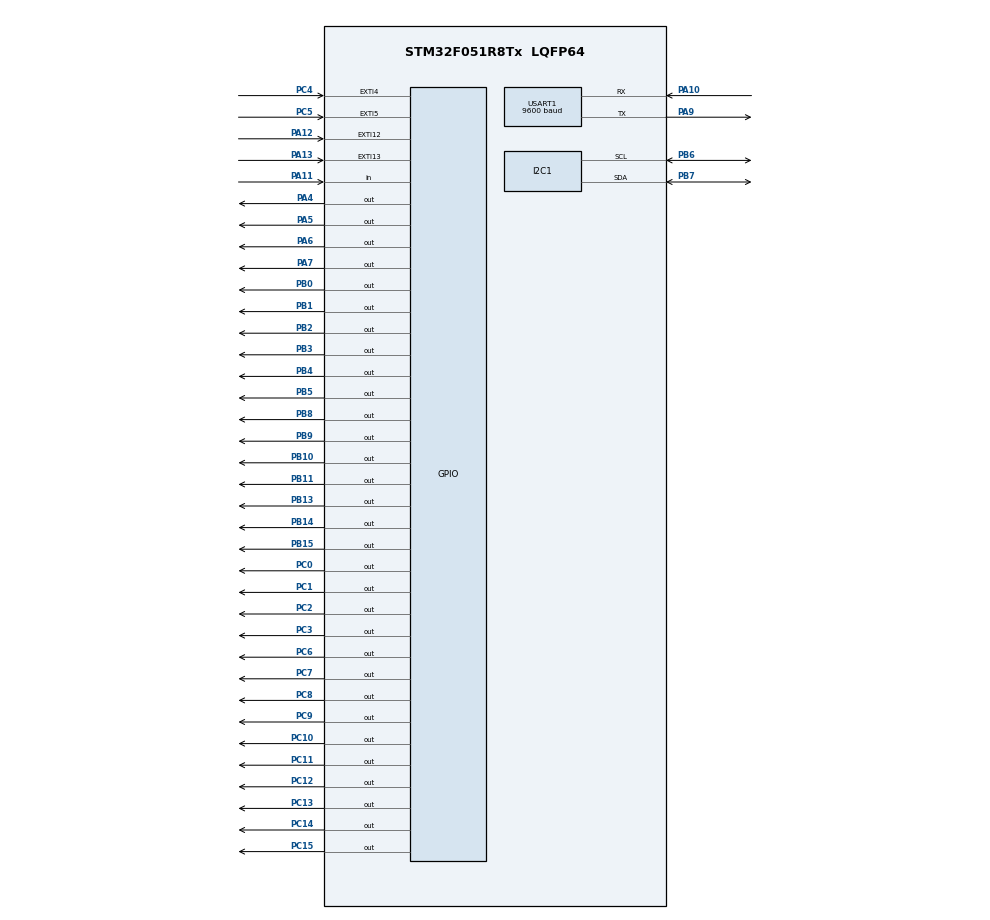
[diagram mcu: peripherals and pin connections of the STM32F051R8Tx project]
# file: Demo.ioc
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Mcu.Family=STM32F0
Mcu.Name=STM32F051R8Tx
Mcu.Package=LQFP64
NVIC.EXTI4_15_IRQn=true\:2\:0\:true\:false\:true\:true\:true
NVIC.USART1_IRQn=true\:0\:0\:false\:false\:true\:true\:true
PA10.Mode=Asynchronous
PA10.Signal=USART1_RX
PA11.GPIO_PuPd=GPIO_PULLDOWN
PA11.Signal=GPIO_Input
PA12.GPIO_PuPd=GPIO_PULLDOWN
PA12.Signal=GPXTI12
PA13.GPIO_PuPd=GPIO_PULLDOWN
PA13.Signal=GPXTI13
PA4.Signal=GPIO_Output
PA5.Signal=GPIO_Output
PA6.Signal=GPIO_Output
PA7.Signal=GPIO_Output
PA9.Mode=Asynchronous
PA9.Signal=USART1_TX
PB0.Signal=GPIO_Output
PB1.Signal=GPIO_Output
PB10.Signal=GPIO_Output
PB11.Signal=GPIO_Output
PB13.Signal=GPIO_Output
PB14.Signal=GPIO_Output
PB15.Signal=GPIO_Output
PB2.Signal=GPIO_Output
PB3.Signal=GPIO_Output
PB4.Signal=GPIO_Output
PB5.Signal=GPIO_Output
PB6.Mode=I2C
PB6.Signal=I2C1_SCL
PB7.Mode=I2C
PB7.Signal=I2C1_SDA
PB8.Signal=GPIO_Output
PB9.Signal=GPIO_Output
PC0.Signal=GPIO_Output
PC1.Signal=GPIO_Output
PC10.Signal=GPIO_Output
PC11.Signal=GPIO_Output
PC12.Signal=GPIO_Output
PC13.Signal=GPIO_Output
PC14-OSC32_IN.Signal=GPIO_Output
PC15-OSC32_OUT.Signal=GPIO_Output
PC2.Signal=GPIO_Output
PC3.Signal=GPIO_Output
PC4.GPIO_PuPd=GPIO_PULLDOWN
PC4.Signal=GPXTI4
PC5.GPIO_PuPd=GPIO_PULLDOWN
PC5.Signal=GPXTI5
PC6.Signal=GPIO_Output
PC7.Signal=GPIO_Output
PC8.Signal=GPIO_Output
PC9.Signal=GPIO_Output
ProjectManager.HeapSize=0x200
ProjectManager.StackSize=0x400
ProjectManager.TargetToolchain=STM32CubeIDE
USART1.BaudRate=9600
USART1.VirtualMode-Asynchronous=VM_ASYNC
board=custom

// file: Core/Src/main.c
/* USER CODE BEGIN Header */
/**
  ******************************************************************************
  * @file           : main.c
  * @brief          : Main program body
  ******************************************************************************
  * @attention
  *
  * <h2><center>&copy; Copyright (c) 2020 STMicroelectronics.
  * All rights reserved.</center></h2>
  *
  * This software component is licensed by ST under BSD 3-Clause license,
  * the "License"; You may not use this file except in compliance with the
  * License. You may obtain a copy of the License at:
  *                        opensource.org/licenses/BSD-3-Clause
  *
  ******************************************************************************
  */
/* USER CODE END Header */
#include "main.h"

/* USER CODE BEGIN Includes */
#include "string.h"

/* USER CODE END Includes */

/* USER CODE BEGIN PD */
// Addresses of the registers

#define _ENABLE  0x80    // Enable status and interrupts

#define _ATIME   0x81    // RGBC ADC time

#define _PTIME	 0x82    // proximity time

#define _WTIME   0x83    // Wait time

#define _AILTL   0x84    // clear Interrupt low treshold low byte

#define _AILTH   0x85    // clear Interrupt low treshold high byte

#define _AIHTL   0x86    // clear Interrupt high treshold low byte

#define _AIHTH   0x87    // clear Interrupt high treshold high byte

#define _PILTL	 0x88	 // proximity interrupt low threshold low byte

#define _PILTH	 0x89	 // proximity interrupt low threshold high byte

#define _PIHTL	 0x8A	 // proximity interrupt high threshold low byte

#define _PIHTH	 0x8B	 // proximity interrupt high threshold high byte

#define _PERS    0x8C    // Interrupt persistence filters

#define _CONFIG  0x8D    // Configuration

#define _CONTROL 0x8F    // Gain control register

#define _ID      0x92    // Device ID

#define _STATUS  0x93    // Device status

#define _CDATA   0x94    // Clear ADC low data register

#define _CDATAH  0x95    // Clear ADC high data register

#define _RDATA   0x96    // RED ADC low data register

#define _RDATAH  0x97    // RED ADC high data register

#define _GDATA   0x98    // GREEN ADC low data register

#define _GDATAH  0x99    // GREEN ADC high data register

#define _BDATA   0x9A    // BLUE ADC low data register

#define _BDATAH  0x9B    // BLUE ADC high data register

#define _PDATA	 0x9C	 // Proximity ADC data low byte

#define _PDATAH	 0x9D 	 // Proximity ADC data high byte

#define _COLOR_W_ADDRESS 0x52  //color address with a zero

#define _COLOR_R_ADDRESS 0x53  // color address with a following one

#define _COLOR_ADDRESS 	 0x29   // slave address but unsure where it came from

#define PURPLE_FLAG 1

#define BLUE_FLAG   2

#define CYAN_FLAG   3

#define GREEN_FLAG  4

#define PINK_FLAG   5

#define RED_FLAG    6

#define ORANGE_FLAG 7

#define YELLOW_FLAG 8

#define _GAIN_x4 1  0x01 	// seems like these should be written as bx01 and such

#define _GAIN_x16   0x10

#define _GAIN_x60   0x11

char i, color_detected, color_flag;

unsigned char buffer[5];

unsigned int Clear, Red, Green, Blue;

float hue, color_value, color_value_sum;

float Red_Ratio, Green_Ratio, Blue_Ratio;
/* USER CODE END PD */

I2C_HandleTypeDef hi2c1;

UART_HandleTypeDef huart1;

/* USER CODE BEGIN PV */
uint8_t bufferRFID[14];
uint8_t tag1[14] = {0x02, 54,48,48,48,51,65,53,51,50,53,50,67,0x03};
uint8_t tag2[14] = {2, 54,48,48,48,51,67,49,65,68,65,57,67,3};
uint8_t tag3[14] = {0x02, 54,48,48,48,51,65,54,56,54,54,53,52,0x03};
uint8_t tag4[14] = {2, 54,48,48,48,51,67,49,65,69,49,65,55,3};
/* USER CODE END PV */

void SystemClock_Config(void);
static void MX_GPIO_Init(void);
static void MX_USART1_UART_Init(void);
static void MX_I2C1_Init(void);

/* USER CODE BEGIN 0 */

unsigned int Color_Read_value(char reg) {

  unsigned short low_byte;

  uint16_t Out_color;

  switch(reg) {

    case 'C': buffer[0] =0x94;

    		  HAL_I2C_Master_Transmit(&hi2c1, _COLOR_ADDRESS<<1,buffer,1,100);

    		  HAL_Delay(20);

    		  HAL_I2C_Master_Receive(&hi2c1, _COLOR_ADDRESS<<1,buffer,1, 100);

    		  low_byte = buffer[0];

    		  buffer[0] = 0x95;

    		  HAL_I2C_Master_Transmit(&hi2c1, _COLOR_ADDRESS<<1,buffer,1,100);

    		  HAL_Delay(20);

    		  HAL_I2C_Master_Receive(&hi2c1, _COLOR_ADDRESS<<1,buffer,1, 100);

    		  Out_color = buffer[0];

    		  //low_byte = Color_Read(_CDATA);

              //Out_color = Color_Read(_CDATAH);

              Out_color = (Out_color << 8);

              Out_color = (Out_color | low_byte);

              //Out_color = 0x0001;

              return Out_color;

              break;

    case 'R': buffer[0] =0x96;

	  	  	  HAL_I2C_Master_Transmit(&hi2c1, _COLOR_ADDRESS<<1,buffer,1,100);

	  	  	  HAL_Delay(20);

	  	  	  HAL_I2C_Master_Receive(&hi2c1, _COLOR_ADDRESS<<1,buffer,1, 100);

	  	  	  low_byte = buffer[0];

	  	  	  buffer[0] = 0x97;

	  	  	  HAL_I2C_Master_Transmit(&hi2c1, _COLOR_ADDRESS<<1,buffer,1,100);

	  	  	  HAL_Delay(20);

	  	  	  HAL_I2C_Master_Receive(&hi2c1, _COLOR_ADDRESS<<1,buffer,1, 100);

	  	  	  Out_color = buffer[0];

	  	  	  //low_byte = Color_Read(_CDATA);

	  	  	  //Out_color = Color_Read(_CDATAH);

	  	  	  Out_color = (Out_color << 8);

	  	  	  Out_color = (Out_color | low_byte);

	  	  	  //Out_color = 0xFF05;

	  	  	  return Out_color;

	  	  	  break;

    case 'G': buffer[0] =0x98;

	  	  	  HAL_I2C_Master_Transmit(&hi2c1, _COLOR_ADDRESS<<1,buffer,1,100);

	  	  	  HAL_Delay(20);

	  	  	  HAL_I2C_Master_Receive(&hi2c1, _COLOR_ADDRESS<<1,buffer,1, 100);

	  	  	  low_byte = buffer[0];

	  	  	  buffer[0] = 0x99;

	  	  	  HAL_I2C_Master_Transmit(&hi2c1, _COLOR_ADDRESS<<1,buffer,1,100);

	  	  	  HAL_Delay(20);

	  	  	  HAL_I2C_Master_Receive(&hi2c1, _COLOR_ADDRESS<<1,buffer,1, 100);

	  	  	  Out_color = buffer[0];

	  	  	  //low_byte = Color_Read(_CDATA);

	  	  	  //Out_color = Color_Read(_CDATAH);

			  Out_color = (Out_color << 8);

			  Out_color = (Out_color | low_byte);

			  //Out_color = 0x0006;

			  return Out_color;

			  break;

    case 'B': buffer[0] =0x9A;

	  	  	  HAL_I2C_Master_Transmit(&hi2c1, _COLOR_ADDRESS<<1,buffer,1,100);

	  	  	  HAL_Delay(20);

	  	  	  HAL_I2C_Master_Receive(&hi2c1, _COLOR_ADDRESS<<1,buffer,1, 100);

	  	  	  low_byte = buffer[0];

	  	  	  buffer[0] = 0x9B;

	  	  	  HAL_I2C_Master_Transmit(&hi2c1, _COLOR_ADDRESS<<1,buffer,1,100);

	  	  	  HAL_Delay(20);

	  	  	  HAL_I2C_Master_Receive(&hi2c1, _COLOR_ADDRESS<<1,buffer,1, 100);

	  	  	  Out_color = buffer[0];

	  	  	  //low_byte = Color_Read(_CDATA);

	  	  	  //Out_color = Color_Read(_CDATAH);

	  	  	  Out_color = (Out_color << 8);

	  	  	  Out_color = (Out_color | low_byte);

	  	  	  //Out_color = 0x001;

	  	  	  return Out_color;

	  	  	  break;

    default:  return 0;

  }

}

void HAL_UART_RxCpltCallback(UART_HandleTypeDef *huart){
	//GPIOA->BSRR |= 0x00000100;
//void RFIDmatcher(){

if(memcmp(bufferRFID,tag1,14) == 0){
	detected1 = 1;
}

if(memcmp(bufferRFID,tag2,14)==0){
	detected2 = 1;
}

if(memcmp(bufferRFID,tag3,14)==0){
	detected3 = 1;
}

if(memcmp(bufferRFID,tag4,14)==0){
	detected4 = 1;
}

}

void RFIDcaller(void){
	  //HAL_UART_Receive_IT(&huart1,bufferRFID,14);

		detected1=0;
		detected2=0;
		detected3=0;
		detected4=0;

		//for (int j=0 ; j<10000;j++){
		//	  HAL_UART_Receive_IT(&huart1,bufferRFID,14);
		//}

		//LED for testing
		GPIOB->BSRR |= 0x00000800;
		for (int i=0; i<100;i++){
 		  HAL_Delay(50);
 		  HAL_UART_Receive_IT(&huart1,bufferRFID,14);
		}
		GPIOB->BSRR |= 0x08000000;
		//detected2 = 1;

 }
/* USER CODE END 0 */

int main(void)
{
  /* USER CODE BEGIN 1 */
	detected1 = 0;
	detected2 = 0;
	detected3 = 0;
	detected4 = 0;

  /* USER CODE END 1 */

  /* MCU Configuration--------------------------------------------------------*/

  /* Reset of all peripherals, Initializes the Flash interface and the Systick. */
  HAL_Init();

  /* Configure the system clock */
  SystemClock_Config();

  /* Initialize all configured peripherals */
  MX_GPIO_Init();
  MX_USART1_UART_Init();
  MX_I2C1_Init();
  /* USER CODE BEGIN 2 */
  scoreA = 0;
  scoreB = 0;

  bagsHoleA = 0;
  bagsHoleB = 0;

  bagsBoardA = 0;
  bagsBoardB = 0;
  throwFirst = 1;

  DisplayScore();

  bagsHoleB = 0;

  color_value_sum = 0;

  color_detected = 0;

  buffer[0] = _ENABLE;

  buffer[1] = 0x0F;  // value to be written to enabled

  HAL_I2C_Master_Transmit(&hi2c1, _COLOR_ADDRESS<<1, buffer, 2, 100); //writes enabled

  buffer[0] = _CONTROL;

  buffer[1] = 0x00;

  HAL_I2C_Master_Transmit(&hi2c1, _COLOR_ADDRESS<<1, buffer, 2, 100);

  //Color_Write(_CONTROL, _GAIN_x16); // again may need to adjust gain number

  buffer[0] = _ATIME;

  buffer[1] = 0x00;

  HAL_I2C_Master_Transmit(&hi2c1, _COLOR_ADDRESS<<1, buffer, 2, 100);

  /* USER CODE END 2 */

  /* Infinite loop */
  /* USER CODE BEGIN WHILE */
  while (1)
  {

	  color_detected = 0;

	  	  Sum_Red = 0;

	  	  Sum_Blue = 0;

	  	  	      // Get the average color value of 16 measurements

	  	  	         //Read Clear, Red, Green and Blue channel register values

	  	  	         for(i=0;i<16;i++){

	  	  	  	  	 Clear = Color_Read_value('C');

	  	  	         Red = Color_Read_value('R');

	  	  	         //Green = Color_Read_value('G');

	  	  	         Blue = Color_Read_value('B');

	  	  	        // Divide Red, Green and Blue values with Clear value

	  	  	        Red_Ratio   = ((float)Red   / (float)Clear);

	  	  	        Blue_Ratio	= ((float)Blue   / (float)Clear);

	  	  	        Sum_Red += Red_Ratio;

	  	  	        Sum_Blue += Blue_Ratio;

	  	  	         }

	  	  	         Red_Score_Ratio = Sum_Red/i;

	  	  	         Blue_Score_Ratio = Sum_Blue/i;

	  	  	        // Convert RGB values to HSL values

	  	  	        //color_value = RGB_To_HSL(Red_Ratio, Green_Ratio, Blue_Ratio);

	  	  	        // Sum the color values

	  	  	        //color_value_sum = color_value_sum + color_value;

	  	  	      //color_value = color_value_sum / 16.0;

	  	  	      if (Red_Score_Ratio > 0.53) {

	  	  	            color_detected = 1;

	  	  	            if (color_flag != RED_FLAG){

	  	  	              color_flag = RED_FLAG;

	  	  	              bagsHoleA ++;
	  	  	              GPIOB->BSRR|= 0x00000800;

	  	  	            }

	  	  	          }

	  	  	      else if (Blue_Score_Ratio >.38) {

	  	  	            color_detected = 1;

	  	  	            if (color_flag != BLUE_FLAG){

	  	  	              color_flag = BLUE_FLAG;

	  	  	              bagsHoleB ++;

	  	  	              GPIOB->BSRR|= 0x00000800;

	  	  	            }

	  	  	          }

	  	  	      else {

	  	  	        if (color_detected == 0){

	  	  	          color_flag = 0;

	  	  	          HAL_Delay(100);

  	  	              GPIOB->BSRR|= 0x08000000;

	  	  	      }

	  	  	      }

		while ((scoreA >= 21 || scoreB >= 21) && scoreA != scoreB){
			if (scoreA >= scoreB){
				DisplayNumA10(10);//arg outside 0-9 clears display
				DisplayNumA1(10);
			}
			else{
				DisplayNumB10(10);
				DisplayNumB1(10);
			}
			//wait a momement
			for(int i = 0; i<100000; i++){
				;
			}
			DisplayNumA10((scoreA/10)%10);
			DisplayNumA1(scoreA%10);
			DisplayNumB10((scoreB/10)%10);
			DisplayNumB1(scoreB%10);
			for(int i = 0; i<100000; i++){
				;
			}
		}
    /* USER CODE END WHILE */

  }
}

void SystemClock_Config(void)
{
  RCC_OscInitTypeDef RCC_OscInitStruct = {0};
  RCC_ClkInitTypeDef RCC_ClkInitStruct = {0};
  RCC_PeriphCLKInitTypeDef PeriphClkInit = {0};

  /** Initializes the RCC Oscillators according to the specified parameters
  * in the RCC_OscInitTypeDef structure.
  */
  RCC_OscInitStruct.OscillatorType = RCC_OSCILLATORTYPE_HSI;
  RCC_OscInitStruct.HSIState = RCC_HSI_ON;
  RCC_OscInitStruct.HSICalibrationValue = RCC_HSICALIBRATION_DEFAULT;
  RCC_OscInitStruct.PLL.PLLState = RCC_PLL_NONE;
  if (HAL_RCC_OscConfig(&RCC_OscInitStruct) != HAL_OK)
  {
    Error_Handler();
  }
  /** Initializes the CPU, AHB and APB buses clocks
  */
  RCC_ClkInitStruct.ClockType = RCC_CLOCKTYPE_HCLK|RCC_CLOCKTYPE_SYSCLK
                              |RCC_CLOCKTYPE_PCLK1;
  RCC_ClkInitStruct.SYSCLKSource = RCC_SYSCLKSOURCE_HSI;
  RCC_ClkInitStruct.AHBCLKDivider = RCC_SYSCLK_DIV1;
  RCC_ClkInitStruct.APB1CLKDivider = RCC_HCLK_DIV1;

  if (HAL_RCC_ClockConfig(&RCC_ClkInitStruct, FLASH_LATENCY_0) != HAL_OK)
  {
    Error_Handler();
  }
  PeriphClkInit.PeriphClockSelection = RCC_PERIPHCLK_USART1|RCC_PERIPHCLK_I2C1;
  PeriphClkInit.Usart1ClockSelection = RCC_USART1CLKSOURCE_PCLK1;
  PeriphClkInit.I2c1ClockSelection = RCC_I2C1CLKSOURCE_HSI;
  if (HAL_RCCEx_PeriphCLKConfig(&PeriphClkInit) != HAL_OK)
  {
    Error_Handler();
  }
}

static void MX_I2C1_Init(void)
{

  hi2c1.Instance = I2C1;
  hi2c1.Init.Timing = 0x2000090E;
  hi2c1.Init.OwnAddress1 = 0;
  hi2c1.Init.AddressingMode = I2C_ADDRESSINGMODE_7BIT;
  hi2c1.Init.DualAddressMode = I2C_DUALADDRESS_DISABLE;
  hi2c1.Init.OwnAddress2 = 0;
  hi2c1.Init.OwnAddress2Masks = I2C_OA2_NOMASK;
  hi2c1.Init.GeneralCallMode = I2C_GENERALCALL_DISABLE;
  hi2c1.Init.NoStretchMode = I2C_NOSTRETCH_DISABLE;
  if (HAL_I2C_Init(&hi2c1) != HAL_OK)
  {
    Error_Handler();
  }
  /** Configure Analogue filter
  */
  if (HAL_I2CEx_ConfigAnalogFilter(&hi2c1, I2C_ANALOGFILTER_ENABLE) != HAL_OK)
  {
    Error_Handler();
  }
  /** Configure Digital filter
  */
  if (HAL_I2CEx_ConfigDigitalFilter(&hi2c1, 0) != HAL_OK)
  {
    Error_Handler();
  }

}

static void MX_USART1_UART_Init(void)
{

  huart1.Instance = USART1;
  huart1.Init.BaudRate = 9600;
  huart1.Init.WordLength = UART_WORDLENGTH_8B;
  huart1.Init.StopBits = UART_STOPBITS_1;
  huart1.Init.Parity = UART_PARITY_NONE;
  huart1.Init.Mode = UART_MODE_TX_RX;
  huart1.Init.HwFlowCtl = UART_HWCONTROL_NONE;
  huart1.Init.OverSampling = UART_OVERSAMPLING_16;
  huart1.Init.OneBitSampling = UART_ONE_BIT_SAMPLE_DISABLE;
  huart1.AdvancedInit.AdvFeatureInit = UART_ADVFEATURE_NO_INIT;
  if (HAL_UART_Init(&huart1) != HAL_OK)
  {
    Error_Handler();
  }

}

static void MX_GPIO_Init(void)
{
  GPIO_InitTypeDef GPIO_InitStruct = {0};

  /* GPIO Ports Clock Enable */
  __HAL_RCC_GPIOC_CLK_ENABLE();
  __HAL_RCC_GPIOA_CLK_ENABLE();
  __HAL_RCC_GPIOB_CLK_ENABLE();

  /*Configure GPIO pin Output Level */
  HAL_GPIO_WritePin(GPIOC, GPIO_PIN_13|GPIO_PIN_14|GPIO_PIN_15|GPIO_PIN_0
                          |GPIO_PIN_1|GPIO_PIN_2|GPIO_PIN_3|GPIO_PIN_6
                          |GPIO_PIN_7|GPIO_PIN_8|GPIO_PIN_9|GPIO_PIN_10
                          |GPIO_PIN_11|GPIO_PIN_12, GPIO_PIN_RESET);

  /*Configure GPIO pin Output Level */
  HAL_GPIO_WritePin(GPIOA, GPIO_PIN_4|GPIO_PIN_5|GPIO_PIN_6|GPIO_PIN_7, GPIO_PIN_RESET);

  /*Configure GPIO pin Output Level */
  HAL_GPIO_WritePin(GPIOB, GPIO_PIN_0|GPIO_PIN_1|GPIO_PIN_2|GPIO_PIN_10
                          |GPIO_PIN_11|GPIO_PIN_13|GPIO_PIN_14|GPIO_PIN_15
                          |GPIO_PIN_3|GPIO_PIN_4|GPIO_PIN_5|GPIO_PIN_8
                          |GPIO_PIN_9, GPIO_PIN_RESET);

  /*Configure GPIO pins : PC13 PC14 PC15 PC0
                           PC1 PC2 PC3 PC6
                           PC7 PC8 PC9 PC10
                           PC11 PC12 */
  GPIO_InitStruct.Pin = GPIO_PIN_13|GPIO_PIN_14|GPIO_PIN_15|GPIO_PIN_0
                          |GPIO_PIN_1|GPIO_PIN_2|GPIO_PIN_3|GPIO_PIN_6
                          |GPIO_PIN_7|GPIO_PIN_8|GPIO_PIN_9|GPIO_PIN_10
                          |GPIO_PIN_11|GPIO_PIN_12;
  GPIO_InitStruct.Mode = GPIO_MODE_OUTPUT_PP;
  GPIO_InitStruct.Pull = GPIO_NOPULL;
  GPIO_InitStruct.Speed = GPIO_SPEED_FREQ_LOW;
  HAL_GPIO_Init(GPIOC, &GPIO_InitStruct);

  /*Configure GPIO pins : PA4 PA5 PA6 PA7 */
  GPIO_InitStruct.Pin = GPIO_PIN_4|GPIO_PIN_5|GPIO_PIN_6|GPIO_PIN_7;
  GPIO_InitStruct.Mode = GPIO_MODE_OUTPUT_PP;
  GPIO_InitStruct.Pull = GPIO_NOPULL;
  GPIO_InitStruct.Speed = GPIO_SPEED_FREQ_LOW;
  HAL_GPIO_Init(GPIOA, &GPIO_InitStruct);

  /*Configure GPIO pins : PC4 PC5 */
  GPIO_InitStruct.Pin = GPIO_PIN_4|GPIO_PIN_5;
  GPIO_InitStruct.Mode = GPIO_MODE_IT_RISING;
  GPIO_InitStruct.Pull = GPIO_PULLDOWN;
  HAL_GPIO_Init(GPIOC, &GPIO_InitStruct);

  /*Configure GPIO pins : PB0 PB1 PB2 PB10
                           PB11 PB13 PB14 PB15
                           PB3 PB4 PB5 PB8
                           PB9 */
  GPIO_InitStruct.Pin = GPIO_PIN_0|GPIO_PIN_1|GPIO_PIN_2|GPIO_PIN_10
                          |GPIO_PIN_11|GPIO_PIN_13|GPIO_PIN_14|GPIO_PIN_15
                          |GPIO_PIN_3|GPIO_PIN_4|GPIO_PIN_5|GPIO_PIN_8
                          |GPIO_PIN_9;
  GPIO_InitStruct.Mode = GPIO_MODE_OUTPUT_PP;
  GPIO_InitStruct.Pull = GPIO_NOPULL;
  GPIO_InitStruct.Speed = GPIO_SPEED_FREQ_LOW;
  HAL_GPIO_Init(GPIOB, &GPIO_InitStruct);

  /*Configure GPIO pin : PA11 */
  GPIO_InitStruct.Pin = GPIO_PIN_11;
  GPIO_InitStruct.Mode = GPIO_MODE_INPUT;
  GPIO_InitStruct.Pull = GPIO_PULLDOWN;
  HAL_GPIO_Init(GPIOA, &GPIO_InitStruct);

  /*Configure GPIO pins : PA12 PA13 */
  GPIO_InitStruct.Pin = GPIO_PIN_12|GPIO_PIN_13;
  GPIO_InitStruct.Mode = GPIO_MODE_IT_RISING;
  GPIO_InitStruct.Pull = GPIO_PULLDOWN;
  HAL_GPIO_Init(GPIOA, &GPIO_InitStruct);

  /* EXTI interrupt init*/
  HAL_NVIC_SetPriority(EXTI4_15_IRQn, 2, 0);
  HAL_NVIC_EnableIRQ(EXTI4_15_IRQn);

}

/* USER CODE BEGIN 4 */
void DisplayScore(){

//while scoreA|scoreB >= 21     flash winner score(loop display off, display num)

	//otherwise
	DisplayNumA10((scoreA/10)%10);
	DisplayNumA1(scoreA%10);
	DisplayNumB10((scoreB/10)%10);
	DisplayNumB1(scoreB%10);
	if (throwFirst==0){
		GPIOB->BSRR |= 0x04000008;
	}
	else {
		GPIOB->BSRR |= 0x00080400;
	}

}

void DisplayNumB10(int num){
	//clockwise from top, A:PC12  B:PC11  C:PC10  D:PB4  E:PB5  F:PB9  G:PB8
    switch(num){
    case 0: GPIOB->BSRR |= 0x02300100;
            GPIOC->BSRR |= 0x1C000000;
            break;
    case 1: GPIOB->BSRR |= 0x00000330;
            GPIOC->BSRR |= 0x0C001000;
            break;
    case 2: GPIOB->BSRR |= 0x01300200;
            GPIOC->BSRR |= 0x18000400;
            break;
    case 3: GPIOB->BSRR |= 0x01100220;
            GPIOC->BSRR |= 0x1C000000;
            break;
    case 4: GPIOB->BSRR |= 0x03000030;
            GPIOC->BSRR |= 0x0C001000;
            break;
    case 5: GPIOB->BSRR |= 0x03100020;
            GPIOC->BSRR |= 0x14000800;
            break;
    case 6: GPIOB->BSRR |= 0x03300000;
            GPIOC->BSRR |= 0x14000800;
            break;
    case 7: GPIOB->BSRR |= 0x00000330;
            GPIOC->BSRR |= 0x1C000000;
            break;
    case 8: GPIOB->BSRR |= 0x03300000;
            GPIOC->BSRR |= 0x1C000000;
            break;
    case 9: GPIOB->BSRR |= 0x03100020;
            GPIOC->BSRR |= 0x1C000000;
            break;

    default: GPIOB->BSRR |= 0x00000330;
            GPIOC->BSRR |= 0x00001C00;
            break;
    }
}

void DisplayNumA10(int num){
	//clockwise from top, A:PC13  B:PC14  C:PC15  D:PC3  E:PC2  F:PC0  G:PC1
    switch(num){
    case 0: GPIOC->BSRR |= 0xE00D0002;
            break;
    case 1: GPIOC->BSRR |= 0xC000200F;
            break;
    case 2: GPIOC->BSRR |= 0x600E8001;
            break;
    case 3: GPIOC->BSRR |= 0xE00A0005;
            break;
    case 4: GPIOC->BSRR |= 0xC003200C;
            break;
    case 5: GPIOC->BSRR |= 0xA00B4004;
            break;
    case 6: GPIOC->BSRR |= 0xA00F4000;
            break;
    case 7: GPIOC->BSRR |= 0xE000000F;
            break;
    case 8: GPIOC->BSRR |= 0xE00F0000;
            break;
    case 9: GPIOC->BSRR |= 0xE00B0004;
            break;
    default: GPIOC->BSRR |= 0x0000E00F;
            break;
    }

}

void DisplayNumB1(int num){
	//clockwise from top, A:PB15  B:PB14  C:PB13  D:PC6  E:PC7  F:PC9  G:PC8
    switch(num){
    case 0: GPIOC->BSRR |= 0x02C00100;
            GPIOB->BSRR |= 0xE0000000;
            break;
    case 1: GPIOC->BSRR |= 0x000003C0;
            GPIOB->BSRR |= 0x60008000;
            break;
    case 2: GPIOC->BSRR |= 0x01C00200;
            GPIOB->BSRR |= 0xC0002000;
            break;
    case 3: GPIOC->BSRR |= 0x01400280;
            GPIOB->BSRR |= 0xE0000000;
            break;
    case 4: GPIOC->BSRR |= 0x030000C0;
            GPIOB->BSRR |= 0x60008000;
            break;
    case 5: GPIOC->BSRR |= 0x03400080;
            GPIOB->BSRR |= 0xA0004000;
            break;
    case 6: GPIOC->BSRR |= 0x03C00000;
            GPIOB->BSRR |= 0xA0004000;
            break;
    case 7: GPIOC->BSRR |= 0x000003C0;
            GPIOB->BSRR |= 0xE0000000;
            break;
    case 8: GPIOC->BSRR |= 0x03C00000;
            GPIOB->BSRR |= 0xE0000000;
            break;
    case 9: GPIOC->BSRR |= 0x03400080;
            GPIOB->BSRR |= 0xE0000000;
            break;

    default: GPIOC->BSRR |= 0x000003C0;
            GPIOB->BSRR |= 0x0000E000;
            break;
    }

}

void DisplayNumA1(int num){
	//clockwise from top, A:PB0  B:PB1  C:PB2  D:PA7  E:PA6  F:PA4  G:PA5
    switch(num){
    case 0: GPIOA->BSRR |= 0x00D00020;
            GPIOB->BSRR |= 0x00070000;
            break;
    case 1: GPIOA->BSRR |= 0x000000F0;
            GPIOB->BSRR |= 0x00060001;
            break;
    case 2: GPIOA->BSRR |= 0x00E00010;
            GPIOB->BSRR |= 0x00030004;
            break;
    case 3: GPIOA->BSRR |= 0x00A00050;
            GPIOB->BSRR |= 0x00070000;
            break;
    case 4: GPIOA->BSRR |= 0x003000C0;
            GPIOB->BSRR |= 0x00060001;
            break;
    case 5: GPIOA->BSRR |= 0x00B00040;
            GPIOB->BSRR |= 0x00050002;
            break;
    case 6: GPIOA->BSRR |= 0x00F00000;
            GPIOB->BSRR |= 0x00050002;
            break;
    case 7: GPIOA->BSRR |= 0x000000F0;
            GPIOB->BSRR |= 0x00070000;
            break;
    case 8: GPIOA->BSRR |= 0x00F00000;
            GPIOB->BSRR |= 0x00070000;
            break;
    case 9: GPIOA->BSRR |= 0x00B00040;
            GPIOB->BSRR |= 0x00070000;
            break;
    default: GPIOA->BSRR |= 0x000000F0;
            GPIOB->BSRR |= 0x00000007;
            break;
    }

}

void ComputeScore(){
	//get new RFID data
	RFIDcaller();

	//move RFID to counts
	bagsBoardA = detected1 + detected2;
	bagsBoardB = detected3 + detected4;

	int roundA = bagsBoardA + 3*bagsHoleA;
	int roundB = bagsBoardB + 3*bagsHoleB;
	if (roundA > roundB){
		scoreA += roundA-roundB;
		throwFirst = 0;
	}
	else{
		scoreB += roundB-roundA;
	}
	if (roundB > roundA){
		throwFirst = 1;
	}
	//reset some vars
	bagsHoleA=0;
	bagsHoleB=0;
}
/* USER CODE END 4 */

void Error_Handler(void)
{
}

/************************ (C) COPYRIGHT STMicroelectronics *****END OF FILE****/
